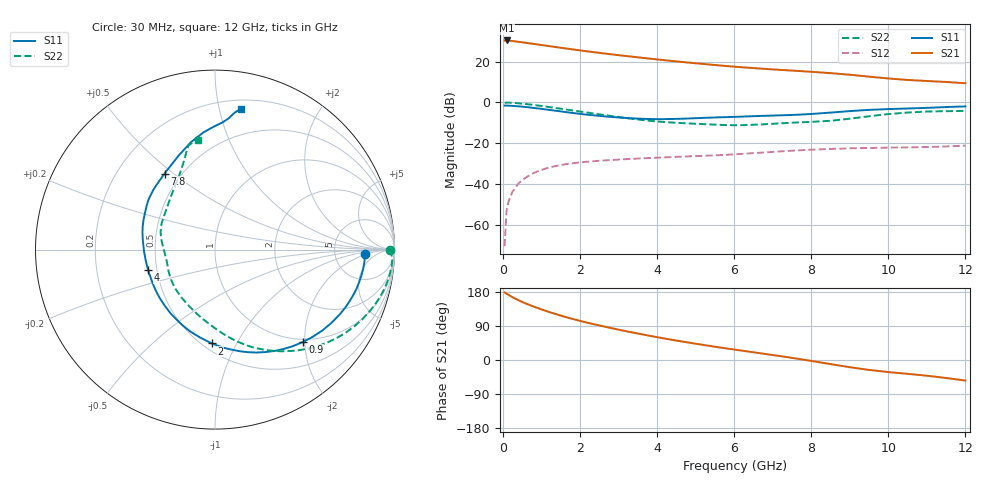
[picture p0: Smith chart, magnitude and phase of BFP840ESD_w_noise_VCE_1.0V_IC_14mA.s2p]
! Infineon Technologies  Discrete & RF Semiconductors
! BFP840ESD
! VCE =  1.0 V,  IC =  14 mA
! Common Emitter S-Parameters:  May 2012
# GHz  S  MA  R  50
!  f  S11  S21  S12  S22
! GHz  MAG  ANG  MAG  ANG  MAG  ANG  MAG  ANG
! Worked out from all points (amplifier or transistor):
!   93 points, 30 MHz to 12 GHz, reference 50 ohm
!   highest |S21| = 30.4 dB at 80 MHz (marker M1)
!   |S21| within 3 dB of that: start of sweep to 1.27 GHz
!   unconditionally stable (mu >= 1): 5.116 GHz to 9.94 GHz
!   at 1.1 GHz: K = 0.33, MSG = 30.1 dB, |S12| = -32.4 dB
!   at 4.2 GHz: K = 0.90, MSG = 23.8 dB, |S12| = -26.9 dB
!   at 12 GHz: K = 0.77, MSG = 15.3 dB, |S12| = -21.2 dB
!   lowest NFmin = 0.96 dB at 450 MHz
!   S11 on the Smith chart (normalised r, x): 30 MHz: 11, -2; 900 MHz: 0.94, -1.96; 2 GHz: 0.56, -0.80; 4 GHz: 0.45, -0.12; 7.8 GHz: 0.41, +0.47; 12 GHz: 0.27, +1.16
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0.03  0.8358 -1.8  32.58 178.1  0.0003 145.7  0.975 -0.0
0.08  0.8352 -4.6  32.96 174.9  0.0022 88.0  0.9891 -2.8
0.28  0.8173 -15.8  31.61 163.4  0.0074 81.2  0.9712 -12.3
0.43  0.7957 -23.6  30.23 155.9  0.0111 75.8  0.9442 -18.6
0.6  0.7669 -32.1  28.66 148.3  0.0148 69.2  0.9084 -25.2
0.9  0.7106 -46.4  26.2 136.7  0.0206 61.6  0.8388 -35.9
1.1  0.6731 -55.4  24.6 129.7  0.024 57.5  0.7912 -42.4
1.4  0.6181 -68.1  22.44 119.9  0.0281 51.3  0.7213 -51.3
1.7  0.566 -80.3  20.52 111.0  0.0314 46.5  0.655 -59.5
2  0.5231 -91.8  18.76 103.0  0.034 41.5  0.5966 -67.1
2.1  0.5095 -95.5  18.24 100.4  0.0347 40.7  0.5787 -69.5
2.5  0.4667 -110.1  16.32 91.0  0.0372 36.5  0.51 -78.7
3  0.426 -128.1  14.34 79.9  0.0398 32.7  0.4366 -90.2
4  0.3897 -163.0  11.29 60.1  0.0442 27.7  0.341 -116.8
4.1  0.389 -166.3  11.04 58.3  0.0447 27.0  0.3351 -119.6
4.9  0.4071 171.5  9.277 44.5  0.0479 24.3  0.3025 -140.7
6.1  0.4451 150.1  7.382 26.2  0.0541 21.9  0.2774 -169.3
7.8  0.5078 123.5  5.782 0.8  0.0678 13.2  0.3274 156.2
8.5  0.5629 110.9  5.211 -10.8  0.0723 8.0  0.355 139.1
9.5  0.6564 95.6  4.274 -26.2  0.0764 0.1  0.4579 115.8
10.5  0.7092 86.7  3.552 -36.5  0.079 -5.7  0.564 106.5
12  0.7975 79.7  2.953 -54.2  0.087 -12.5  0.6176 98.6
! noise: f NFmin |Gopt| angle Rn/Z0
0.45  0.96  0.19  1  0.13
0.9  0.97  0.19  4  0.13
1.5  0.97  0.2  8  0.12
1.9  0.98  0.17  12  0.12
2.4  0.99  0.14  19  0.12
3.5  1  0.05  63  0.1
5.5  1.03  0.07  -165  0.1
8  1.14  0.29  -116  0.12
10  1.26  0.49  -83  0.22
12  1.48  0.62  -68  0.31
